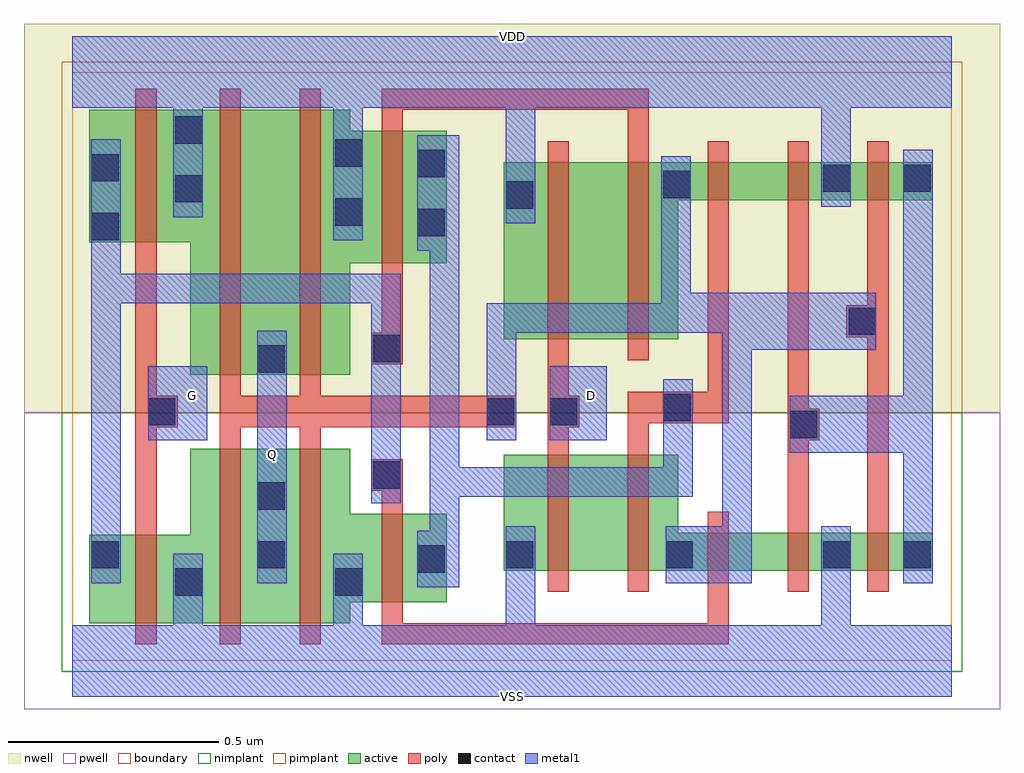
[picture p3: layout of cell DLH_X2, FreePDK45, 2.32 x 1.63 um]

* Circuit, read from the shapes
.subckt DLH_X2 D G Q VDD VSS
M1 VSS G n1 VSUBS nfet w=0.21u l=0.05u
M2 Q n2 VSS VSUBS nfet w=0.415u l=0.05u m=2
M3 n3 n1 VSS VSUBS nfet w=0.21u l=0.05u
M4 n4 D VSS VSUBS nfet w=0.275u l=0.05u
M5 n2 n3 n4 VSUBS nfet w=0.275u l=0.05u
M6 n5 n1 n2 VSUBS nfet w=0.09u l=0.05u
M7 VSS n6 n5 VSUBS nfet w=0.09u l=0.05u
M8 n6 n2 VSS VSUBS nfet w=0.09u l=0.05u
M9 VDD G n1 n7 pfet w=0.315u l=0.05u
M10 Q n2 VDD n7 pfet w=0.63u l=0.05u m=2
M11 n3 n1 VDD n7 pfet w=0.315u l=0.05u
M12 n8 D VDD n7 pfet w=0.42u l=0.05u
M13 n2 n1 n8 n7 pfet w=0.42u l=0.05u
M14 n9 n3 n2 n7 pfet w=0.09u l=0.05u
M15 VDD n6 n9 n7 pfet w=0.09u l=0.05u
M16 n6 n2 VDD n7 pfet w=0.09u l=0.05u
.ends

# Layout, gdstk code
import gdstk
lib = gdstk.Library(unit=1e-6, precision=5e-10)
def R(c, l, rs):  # rectangles x0, y0, x1, y1
    for r in rs: c.add(gdstk.rectangle(r[:2], r[2:], *l))
def P(c, l, *ps):  # polygons
    for p in ps: c.add(gdstk.Polygon(p, *l))
active = (1, 0)
pwell = (2, 0)
nwell = (3, 0)
nimplant = (4, 0)
pimplant = (5, 0)
poly = (9, 0)
contact = (10, 0)
metal1 = (11, 0)
boundary = (235, 0)

dlh_x2 = lib.new_cell('DLH_X2')
P(dlh_x2, active, [(1.025,0.765),(1.44,0.765),(1.44,1.095),(2.045,1.095),(2.045,1.185),(1.025,1.185)],
  [(1.025,0.215),(2.045,0.215),(2.045,0.305),(1.44,0.305),(1.44,0.49),(1.025,0.49)],
  [(0.04,0.995),(0.28,0.995),(0.28,0.68),(0.66,0.68),(0.66,0.945),(0.89,0.945),(0.89,1.26),(0.66,1.26),(0.66,1.31),(0.04,1.31)],
  [(0.04,0.09),(0.66,0.09),(0.66,0.14),(0.89,0.14),(0.89,0.35),(0.66,0.35),(0.66,0.505),(0.28,0.505),(0.28,0.3),(0.04,0.3)])
R(dlh_x2, pwell, [(-0.115,-0.115,2.205,0.59)])
R(dlh_x2, nwell, [(-0.115,0.59,2.205,1.515)])
R(dlh_x2, nimplant, [(-0.025,-0.025,2.115,0.59)])
R(dlh_x2, pimplant, [(-0.025,0.59,2.115,1.425)])
P(dlh_x2, poly, [(1.84,0.77),(1.89,0.77),(1.89,0.165),(1.94,0.165),(1.94,1.235),(1.89,1.235),(1.89,0.845),(1.84,0.845)],
  [(1.7,0.165),(1.75,0.165),(1.75,0.525),(1.775,0.525),(1.775,0.6),(1.75,0.6),(1.75,1.235),(1.7,1.235)],
  [(1.32,0.165),(1.37,0.165),(1.37,0.565),(1.56,0.565),(1.56,1.235),(1.51,1.235),(1.51,0.64),(1.32,0.64)],
  [(0.71,0.405),(0.735,0.405),(0.735,0.04),(1.56,0.04),(1.56,0.355),(1.51,0.355),(1.51,0.09),(0.785,0.09),(0.785,0.48),(0.71,0.48)],
  [(0.71,0.705),(0.785,0.705),(0.785,1.31),(1.32,1.31),(1.32,0.715),(1.37,0.715),(1.37,1.36),(0.735,1.36),(0.735,0.78),(0.71,0.78)],
  [(1.13,0.165),(1.18,0.165),(1.18,0.555),(1.205,0.555),(1.205,0.63),(1.18,0.63),(1.18,1.235),(1.13,1.235)],
  [(0.35,0.04),(0.4,0.04),(0.4,0.555),(0.54,0.555),(0.54,0.04),(0.59,0.04),(0.59,0.555),(1.055,0.555),(1.055,0.63),(0.59,0.63),(0.59,1.36),(0.54,1.36),(0.54,0.63),(0.4,0.63),(0.4,1.36),(0.35,1.36)],
  [(0.15,0.04),(0.2,0.04),(0.2,0.555),(0.25,0.555),(0.25,0.63),(0.2,0.63),(0.2,1.36),(0.15,1.36)])
R(dlh_x2, contact, [(0.245,0.155,0.31,0.22), (0.625,0.155,0.69,0.22), (0.82,0.21,0.885,0.275), (0.045,0.22,0.11,0.285), (0.44,0.22,0.505,0.285), (1.03,0.22,1.095,0.285), (1.41,0.22,1.475,0.285), (1.785,0.22,1.85,0.285), (1.975,0.22,2.04,0.285), (0.44,0.36,0.505,0.425), (0.715,0.41,0.78,0.475), (1.705,0.53,1.77,0.595), (0.18,0.56,0.245,0.625), (0.985,0.56,1.05,0.625), (1.135,0.56,1.2,0.625), (1.405,0.57,1.47,0.635), (0.44,0.685,0.505,0.75), (0.715,0.71,0.78,0.775), (1.845,0.775,1.91,0.84), (0.045,1,0.11,1.065), (0.82,1.01,0.885,1.075), (0.625,1.035,0.69,1.1), (1.03,1.075,1.095,1.14), (0.245,1.09,0.31,1.155), (1.405,1.1,1.47,1.165), (1.785,1.115,1.85,1.18), (1.975,1.115,2.04,1.18), (0.045,1.14,0.11,1.205), (0.82,1.15,0.885,1.215), (0.625,1.175,0.69,1.24), (0.245,1.23,0.31,1.295)])
R(dlh_x2, metal1, [(0.44,0.185,0.51,0.785), (0.44,0.185,0.51,0.785), (0.18,0.525,0.32,0.7), (0.18,0.525,0.32,0.7), (1.135,0.525,1.27,0.7), (1.135,0.525,1.27,0.7)])
P(dlh_x2, metal1, [(0,-0.085),(2.09,-0.085),(2.09,0.085),(1.85,0.085),(1.85,0.32),(1.78,0.32),(1.78,0.085),(1.1,0.085),(1.1,0.32),(1.03,0.32),(1.03,0.085),(0.69,0.085),(0.69,0.255),(0.62,0.255),(0.62,0.085),(0.31,0.085),(0.31,0.255),(0.24,0.255),(0.24,0.085),(0,0.085)],
  [(0,1.315),(0.24,1.315),(0.24,1.055),(0.31,1.055),(0.31,1.315),(0.62,1.315),(0.62,1),(0.69,1),(0.69,1.315),(1.03,1.315),(1.03,1.04),(1.1,1.04),(1.1,1.315),(1.78,1.315),(1.78,1.08),(1.85,1.08),(1.85,1.315),(2.09,1.315),(2.09,1.485),(0,1.485)],
  [(0,1.315),(0.24,1.315),(0.24,1.055),(0.31,1.055),(0.31,1.315),(0.62,1.315),(0.62,1),(0.69,1),(0.69,1.315),(1.03,1.315),(1.03,1.04),(1.1,1.04),(1.1,1.315),(1.78,1.315),(1.78,1.08),(1.85,1.08),(1.85,1.315),(2.09,1.315),(2.09,1.485),(0,1.485)],
  [(0,-0.085),(2.09,-0.085),(2.09,0.085),(1.85,0.085),(1.85,0.32),(1.78,0.32),(1.78,0.085),(1.1,0.085),(1.1,0.32),(1.03,0.32),(1.03,0.085),(0.69,0.085),(0.69,0.255),(0.62,0.255),(0.62,0.085),(0.31,0.085),(0.31,0.255),(0.24,0.255),(0.24,0.085),(0,0.085)],
  [(1.705,0.495),(1.975,0.495),(1.975,0.185),(2.045,0.185),(2.045,1.215),(1.975,1.215),(1.975,0.63),(1.705,0.63)],
  [(0.985,0.525),(1.055,0.525),(1.055,0.78),(1.545,0.78),(1.545,0.32),(1.41,0.32),(1.41,0.185),(1.615,0.185),(1.615,0.74),(1.91,0.74),(1.91,0.875),(1.47,0.875),(1.47,1.2),(1.4,1.2),(1.4,0.85),(0.985,0.85)],
  [(0.82,0.975),(0.85,0.975),(0.85,0.31),(0.82,0.31),(0.82,0.175),(0.92,0.175),(0.92,0.39),(1.475,0.39),(1.475,0.67),(1.405,0.67),(1.405,0.46),(0.92,0.46),(0.92,1.25),(0.82,1.25)],
  [(0.045,0.185),(0.115,0.185),(0.115,0.85),(0.71,0.85),(0.71,0.375),(0.78,0.375),(0.78,0.92),(0.115,0.92),(0.115,1.24),(0.045,1.24)])
R(dlh_x2, boundary, [(0,0,2.09,1.4)])
dlh_x2.add(gdstk.Label('VSS', (1.045,-0.085), layer=11, texttype=0))
dlh_x2.add(gdstk.Label('VDD', (1.045,1.485), layer=11, texttype=0))
dlh_x2.add(gdstk.Label('Q', (0.475,0.49), layer=11, texttype=0))
dlh_x2.add(gdstk.Label('G', (0.285,0.63), layer=11, texttype=0))
dlh_x2.add(gdstk.Label('D', (1.235,0.63), layer=11, texttype=0))

lib.write_gds('DLH_X2.gds')
